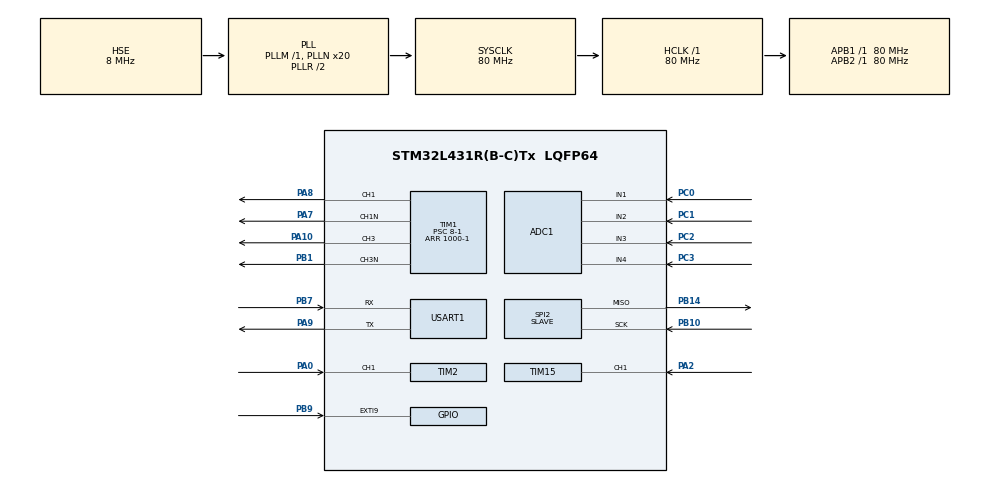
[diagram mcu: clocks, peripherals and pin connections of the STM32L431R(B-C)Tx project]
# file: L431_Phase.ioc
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ADC1.Channel-0\#ChannelRegularConversion=ADC_CHANNEL_1
ADC1.Channel-1\#ChannelRegularConversion=ADC_CHANNEL_2
ADC1.Channel-2\#ChannelRegularConversion=ADC_CHANNEL_3
ADC1.Channel-3\#ChannelRegularConversion=ADC_CHANNEL_4
ADC1.ContinuousConvMode=ENABLE
ADC1.NbrOfConversion=4
ADC1.NbrOfConversionFlag=1
ADC1.OffsetNumber-0\#ChannelRegularConversion=ADC_OFFSET_NONE
ADC1.OffsetNumber-1\#ChannelRegularConversion=ADC_OFFSET_NONE
ADC1.OffsetNumber-2\#ChannelRegularConversion=ADC_OFFSET_NONE
ADC1.OffsetNumber-3\#ChannelRegularConversion=ADC_OFFSET_NONE
ADC1.Rank-0\#ChannelRegularConversion=1
ADC1.Rank-1\#ChannelRegularConversion=2
ADC1.Rank-2\#ChannelRegularConversion=3
ADC1.Rank-3\#ChannelRegularConversion=4
ADC1.SamplingTime-0\#ChannelRegularConversion=ADC_SAMPLETIME_47CYCLES_5
ADC1.SamplingTime-1\#ChannelRegularConversion=ADC_SAMPLETIME_47CYCLES_5
ADC1.SamplingTime-2\#ChannelRegularConversion=ADC_SAMPLETIME_47CYCLES_5
ADC1.SamplingTime-3\#ChannelRegularConversion=ADC_SAMPLETIME_47CYCLES_5
ADC1.master=1
Mcu.Family=STM32L4
Mcu.Name=STM32L431R(B-C)Tx
Mcu.Package=LQFP64
NVIC.EXTI9_5_IRQn=true\:0\:0\:false\:false\:true\:true\:true
NVIC.PriorityGroup=NVIC_PRIORITYGROUP_4
NVIC.TIM1_BRK_TIM15_IRQn=true\:0\:0\:false\:false\:true\:true\:true
NVIC.TIM2_IRQn=true\:0\:0\:false\:false\:true\:true\:true
PA0.GPIO_PuPd=GPIO_PULLDOWN
PA0.GPIO_Speed=GPIO_SPEED_FREQ_HIGH
PA0.Signal=S_TIM2_CH1
PA10.Signal=S_TIM1_CH3
PA13\ (JTMS-SWDIO).Mode=Serial_Wire
PA13\ (JTMS-SWDIO).Signal=SYS_JTMS-SWDIO
PA14\ (JTCK-SWCLK).Mode=Serial_Wire
PA14\ (JTCK-SWCLK).Signal=SYS_JTCK-SWCLK
PA2.GPIO_PuPd=GPIO_PULLDOWN
PA2.GPIO_Speed=GPIO_SPEED_FREQ_HIGH
PA2.Signal=S_TIM15_CH1
PA7.GPIO_Speed=GPIO_SPEED_FREQ_HIGH
PA7.Mode=PWM Generation1 CH1 CH1N
PA7.Signal=TIM1_CH1N
PA8.GPIO_Speed=GPIO_SPEED_FREQ_HIGH
PA8.Signal=S_TIM1_CH1
PA9.Mode=Asynchronous
PA9.Signal=USART1_TX
PB1.Mode=PWM Generation3 CH3 CH3N
PB1.Signal=TIM1_CH3N
PB10.Mode=TX_Only_Simplex_Unidirect_Slave
PB10.Signal=SPI2_SCK
PB14.Mode=TX_Only_Simplex_Unidirect_Slave
PB14.Signal=SPI2_MISO
PB7.Mode=Asynchronous
PB7.Signal=USART1_RX
PB9.GPIO_ModeDefaultEXTI=GPIO_MODE_IT_FALLING
PB9.GPIO_PuPd=GPIO_PULLUP
PB9.Signal=GPXTI9
PC0.Signal=ADCx_IN1
PC1.Signal=ADCx_IN2
PC2.Signal=ADCx_IN3
PC3.Signal=ADCx_IN4
PH0-OSC_IN\ (PH0).Mode=HSE-External-Oscillator
PH0-OSC_IN\ (PH0).Signal=RCC_OSC_IN
PH1-OSC_OUT\ (PH1).Mode=HSE-External-Oscillator
PH1-OSC_OUT\ (PH1).Signal=RCC_OSC_OUT
ProjectManager.HeapSize=0x200
ProjectManager.StackSize=0x400
ProjectManager.TargetToolchain=MDK-ARM V5.27
RCC.ADCFreq_Value=32000000
RCC.AHBFreq_Value=80000000
RCC.APB1Freq_Value=80000000
RCC.APB1TimFreq_Value=80000000
RCC.APB2Freq_Value=80000000
RCC.APB2TimFreq_Value=80000000
RCC.CortexFreq_Value=80000000
RCC.HCLKFreq_Value=80000000
RCC.HSE_VALUE=8000000
RCC.HSI48_VALUE=48000000
RCC.HSI_VALUE=16000000
RCC.LSE_VALUE=32768
RCC.MSI_VALUE=4000000
RCC.PLLN=20
RCC.PLLSourceVirtual=RCC_PLLSOURCE_HSE
RCC.SYSCLKFreq_VALUE=80000000
RCC.SYSCLKSource=RCC_SYSCLKSOURCE_PLLCLK
RCC.VCOOutputFreq_Value=160000000
SH.ADCx_IN1.0=ADC1_IN1,IN1-Single-Ended
SH.ADCx_IN2.0=ADC1_IN2,IN2-Single-Ended
SH.ADCx_IN3.0=ADC1_IN3,IN3-Single-Ended
SH.ADCx_IN4.0=ADC1_IN4,IN4-Single-Ended
SH.S_TIM15_CH1.0=TIM15_CH1,PWM_Input_1
SH.S_TIM1_CH1.0=TIM1_CH1,PWM Generation1 CH1 CH1N
SH.S_TIM1_CH3.0=TIM1_CH3,PWM Generation3 CH3 CH3N
SH.S_TIM2_CH1.0=TIM2_CH1,PWM_Input_1
SPI2.Direction=SPI_DIRECTION_2LINES
SPI2.Mode=SPI_MODE_SLAVE
SPI2.VirtualType=VM_SLAVE
TIM1.Channel-PWM\ Generation1\ CH1\ CH1N=TIM_CHANNEL_1
TIM1.Channel-PWM\ Generation3\ CH3\ CH3N=TIM_CHANNEL_3
TIM1.Period=1000-1
TIM1.Prescaler=8-1
TIM15.AutoReloadPreload=TIM_AUTORELOAD_PRELOAD_ENABLE
TIM15.ICFilter_1=10
TIM15.ICFilter_2=10
TIM15.Period=0xFFFF
TIM15.Prescaler=80-1
TIM2.AutoReloadPreload=TIM_AUTORELOAD_PRELOAD_ENABLE
TIM2.ICFilter_1=10
TIM2.ICFilter_2=10
TIM2.Period=0xFFFFFFFF
TIM2.Prescaler=80-1
USART1.VirtualMode-Asynchronous=VM_ASYNC
VP_TIM1_VS_ClockSourceINT.Mode=Internal
board=custom

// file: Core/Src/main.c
/* USER CODE BEGIN Header */
/**
  ******************************************************************************
  * @file           : main.c
  * @brief          : Main program body
  ******************************************************************************
  * @attention
  *
  * <h2><center>&copy; Copyright (c) 2022 STMicroelectronics.
  * All rights reserved.</center></h2>
  *
  * This software component is licensed by ST under BSD 3-Clause license,
  * the "License"; You may not use this file except in compliance with the
  * License. You may obtain a copy of the License at:
  *                        opensource.org/licenses/BSD-3-Clause
  *
  ******************************************************************************
  */
/* USER CODE END Header */
#include "main.h"
#include "adc.h"
#include "spi.h"
#include "tim.h"
#include "usart.h"
#include "gpio.h"

/* USER CODE BEGIN Includes */
#include "math.h"
/* USER CODE END Includes */

/* USER CODE BEGIN PM */
extern uint32_t Capture1;
extern uint32_t Capture2;
extern uint32_t Capture3;
extern float Freq_Capture;
extern float PWM_Duty;
/* USER CODE END PM */

/* USER CODE BEGIN PV */
PID_InitTypeDef PID_Init = {10, 0, 0, 0};
/* USER CODE END PV */

void SystemClock_Config(void);

/* USER CODE BEGIN 0 */
float sin_frq=50;
uint16_t aADCxConvertedData[4],i;
float ADC0,V0,I0;
/* USER CODE END 0 */

int main(void)
{

    /* MCU Configuration--------------------------------------------------------*/

    /* Reset of all peripherals, Initializes the Flash interface and the Systick. */
    HAL_Init();

    /* Configure the system clock */
    SystemClock_Config();

    /* Initialize all configured peripherals */
    MX_GPIO_Init();
    MX_ADC1_Init();
    MX_TIM2_Init();
    MX_TIM15_Init();
    MX_TIM1_Init();
    MX_SPI2_Init();
    MX_USART1_UART_Init();
    /* USER CODE BEGIN 2 */
    SinWave(sin_frq);
    HAL_ADC_ConvCpltCallback(&hadc1);
    HAL_ADC_Start_DMA(&hadc1, (uint32_t *)&aADCxConvertedData, 4);
    HAL_TIM_IC_Start_IT(&htim2,TIM_CHANNEL_1);
/**
 * @brief �����ɼ���λ
 *   HAL_TIM_IC_Start_IT(&htim15, TIM_CHANNEL_1);    //�������벶��
 *   HAL_TIM_IC_Start_IT(&htim15,TIM_CHANNEL_2);
 */
/**
 * @brief DAC�������Ҳ�
 *    for(i=0; i<1024; i++) {
       sinewave[i]=sin(i/1024.0*2.0*3.1415926)*2048.0+2048.0;	//�����ұ�
       sinewave2[i]=(-sin(i/1024.0*2.0*3.1415926)*2048.0)+2047.0;
   }
//	HAL_DAC_Start(&hdac1, DAC_CHANNEL_1);
		HAL_TIM_Base_Start(&htim7);
   HAL_DAC_Start_DMA(&hdac1, DAC_CHANNEL_1,(uint32_t *)sinewave,1024,DAC_ALIGN_12B_R);
   HAL_DAC_Start_DMA(&hdac1, DAC_CHANNEL_2,(uint32_t *)sinewave2,1024,DAC_ALIGN_12B_R);
 */
    /* USER CODE END 2 */

    /* Infinite loop */
    /* USER CODE BEGIN WHILE */
    while (1)
    {
        Usart1_Printf("%8.3f,%8.3f\r\n",Freq_Capture,PWM_Duty);//
        Out_SPWM(Freq_Capture);
        ADC0 = First_order_lag_filtering(1, aADCxConvertedData[0]);
        V0 = ADC0 * 3.3 / 4095.0;
        I0 = (V0 - 2.36) / 0.28; /*Isum*/ // 0.28
        /* USER CODE END WHILE */

    }
}

void SystemClock_Config(void)
{
    RCC_OscInitTypeDef RCC_OscInitStruct = {0};
    RCC_ClkInitTypeDef RCC_ClkInitStruct = {0};

    /** Configure the main internal regulator output voltage
    */
    if (HAL_PWREx_ControlVoltageScaling(PWR_REGULATOR_VOLTAGE_SCALE1) != HAL_OK)
    {
        Error_Handler();
    }
    /** Initializes the RCC Oscillators according to the specified parameters
    * in the RCC_OscInitTypeDef structure.
    */
    RCC_OscInitStruct.OscillatorType = RCC_OSCILLATORTYPE_HSE;
    RCC_OscInitStruct.HSEState = RCC_HSE_ON;
    RCC_OscInitStruct.PLL.PLLState = RCC_PLL_ON;
    RCC_OscInitStruct.PLL.PLLSource = RCC_PLLSOURCE_HSE;
    RCC_OscInitStruct.PLL.PLLM = 1;
    RCC_OscInitStruct.PLL.PLLN = 20;
    RCC_OscInitStruct.PLL.PLLP = RCC_PLLP_DIV7;
    RCC_OscInitStruct.PLL.PLLQ = RCC_PLLQ_DIV2;
    RCC_OscInitStruct.PLL.PLLR = RCC_PLLR_DIV2;
    if (HAL_RCC_OscConfig(&RCC_OscInitStruct) != HAL_OK)
    {
        Error_Handler();
    }
    /** Initializes the CPU, AHB and APB buses clocks
    */
    RCC_ClkInitStruct.ClockType = RCC_CLOCKTYPE_HCLK|RCC_CLOCKTYPE_SYSCLK
                                  |RCC_CLOCKTYPE_PCLK1|RCC_CLOCKTYPE_PCLK2;
    RCC_ClkInitStruct.SYSCLKSource = RCC_SYSCLKSOURCE_PLLCLK;
    RCC_ClkInitStruct.AHBCLKDivider = RCC_SYSCLK_DIV1;
    RCC_ClkInitStruct.APB1CLKDivider = RCC_HCLK_DIV1;
    RCC_ClkInitStruct.APB2CLKDivider = RCC_HCLK_DIV1;

    if (HAL_RCC_ClockConfig(&RCC_ClkInitStruct, FLASH_LATENCY_4) != HAL_OK)
    {
        Error_Handler();
    }
}

void Error_Handler(void)
{
    __disable_irq();
    while (1)
    {
    }
}

/************************ (C) COPYRIGHT STMicroelectronics *****END OF FILE****/
